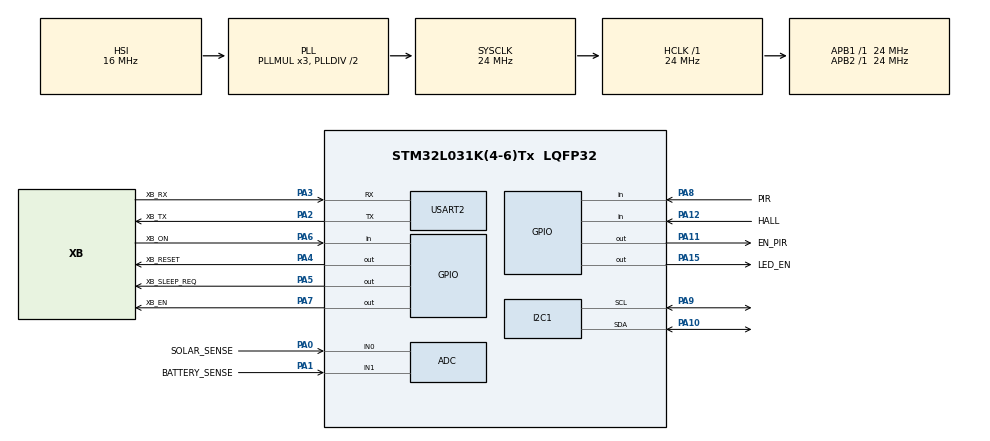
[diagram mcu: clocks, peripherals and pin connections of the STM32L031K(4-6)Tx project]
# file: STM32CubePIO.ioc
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Dma.ADC.0.Direction=DMA_PERIPH_TO_MEMORY
Dma.ADC.0.Instance=DMA1_Channel1
Dma.ADC.0.MemDataAlignment=DMA_MDATAALIGN_HALFWORD
Dma.ADC.0.MemInc=DMA_MINC_ENABLE
Dma.ADC.0.Mode=DMA_NORMAL
Dma.ADC.0.PeriphDataAlignment=DMA_PDATAALIGN_HALFWORD
Dma.ADC.0.PeriphInc=DMA_PINC_DISABLE
Dma.ADC.0.Priority=DMA_PRIORITY_LOW
Dma.Request0=ADC
I2C1.Timing=0x00506682
Mcu.Family=STM32L0
Mcu.Name=STM32L031K(4-6)Tx
Mcu.Package=LQFP32
NVIC.ADC1_COMP_IRQn=true\:0\:0\:false\:false\:true\:true\:true
NVIC.DMA1_Channel1_IRQn=true\:0\:0\:false\:false\:true\:false\:true
PA0-CK_IN.GPIO_Label=SOLAR_SENSE
PA0-CK_IN.Mode=IN0
PA0-CK_IN.Signal=ADC_IN0
PA1.GPIO_Label=BATTERY_SENSE
PA1.Mode=IN1
PA1.Signal=ADC_IN1
PA10.Mode=I2C
PA10.Signal=I2C1_SDA
PA11.GPIO_Label=EN_PIR
PA11.Signal=GPIO_Output
PA12.GPIO_Label=HALL
PA12.GPIO_PuPd=GPIO_PULLUP
PA12.Signal=GPIO_Input
PA13.Mode=Serial_Wire
PA13.Signal=SYS_SWDIO
PA14.Mode=Serial_Wire
PA14.Signal=SYS_SWCLK
PA15.GPIO_Label=LED_EN
PA15.Signal=GPIO_Output
PA2.GPIO_Label=XB_TX
PA2.Mode=Asynchronous
PA2.Signal=USART2_TX
PA3.GPIO_Label=XB_RX
PA3.Mode=Asynchronous
PA3.Signal=USART2_RX
PA4.GPIO_Label=XB_RESET
PA4.Signal=GPIO_Output
PA5.GPIO_Label=XB_SLEEP_REQ
PA5.Signal=GPIO_Output
PA6.GPIO_Label=XB_ON
PA6.Signal=GPIO_Input
PA7.GPIO_Label=XB_EN
PA7.Signal=GPIO_Output
PA8.GPIO_Label=PIR
PA8.Signal=GPIO_Input
PA9.Mode=I2C
PA9.Signal=I2C1_SCL
PC14-OSC32_IN.Mode=LSE-External-Oscillator
PC14-OSC32_IN.Signal=RCC_OSC32_IN
PC15-OSC32_OUT.Mode=LSE-External-Oscillator
PC15-OSC32_OUT.Signal=RCC_OSC32_OUT
ProjectManager.HeapSize=0x200
ProjectManager.StackSize=0x400
ProjectManager.TargetToolchain=Makefile
RCC.AHBFreq_Value=24000000
RCC.APB1Freq_Value=24000000
RCC.APB1TimFreq_Value=24000000
RCC.APB2Freq_Value=24000000
RCC.APB2TimFreq_Value=24000000
RCC.HCLKFreq_Value=24000000
RCC.HSE_VALUE=8000000
RCC.HSI16_VALUE=16000000
RCC.HSI_VALUE=16000000
RCC.MSI_VALUE=2097000
RCC.RTCClockSelection=RCC_RTCCLKSOURCE_LSE
RCC.RTCClockSelectionVirtual=RCC_RTCCLKSOURCE_LSE
RCC.SYSCLKFreq_VALUE=24000000
RCC.SYSCLKSource=RCC_SYSCLKSOURCE_PLLCLK
RCC.VCOOutputFreq_Value=48000000
USART2.VirtualMode-Asynchronous=VM_ASYNC
VP_ADC_TempSens_Input.Mode=IN-TempSens
VP_ADC_Vref_Input.Mode=IN-Vrefint
VP_RTC_VS_RTC_Activate.Mode=RTC_Enabled
board=custom

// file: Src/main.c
/* USER CODE BEGIN Header */
/**
  ******************************************************************************
  * @file           : main.c
  * @brief          : Main program body
  ******************************************************************************
  ** This notice applies to any and all portions of this file
  * that are not between comment pairs USER CODE BEGIN and
  * USER CODE END. Other portions of this file, whether
  * inserted by the user or by software development tools
  * are owned by their respective copyright owners.
  *
  * COPYRIGHT(c) 2019 STMicroelectronics
  *
  * Redistribution and use in source and binary forms, with or without modification,
  * are permitted provided that the following conditions are met:
  *   1. Redistributions of source code must retain the above copyright notice,
  *      this list of conditions and the following disclaimer.
  *   2. Redistributions in binary form must reproduce the above copyright notice,
  *      this list of conditions and the following disclaimer in the documentation
  *      and/or other materials provided with the distribution.
  *   3. Neither the name of STMicroelectronics nor the names of its contributors
  *      may be used to endorse or promote products derived from this software
  *      without specific prior written permission.
  *
  * THIS SOFTWARE IS PROVIDED BY THE COPYRIGHT HOLDERS AND CONTRIBUTORS "AS IS"
  * AND ANY EXPRESS OR IMPLIED WARRANTIES, INCLUDING, BUT NOT LIMITED TO, THE
  * IMPLIED WARRANTIES OF MERCHANTABILITY AND FITNESS FOR A PARTICULAR PURPOSE ARE
  * DISCLAIMED. IN NO EVENT SHALL THE COPYRIGHT HOLDER OR CONTRIBUTORS BE LIABLE
  * FOR ANY DIRECT, INDIRECT, INCIDENTAL, SPECIAL, EXEMPLARY, OR CONSEQUENTIAL
  * DAMAGES (INCLUDING, BUT NOT LIMITED TO, PROCUREMENT OF SUBSTITUTE GOODS OR
  * SERVICES; LOSS OF USE, DATA, OR PROFITS; OR BUSINESS INTERRUPTION) HOWEVER
  * CAUSED AND ON ANY THEORY OF LIABILITY, WHETHER IN CONTRACT, STRICT LIABILITY,
  * OR TORT (INCLUDING NEGLIGENCE OR OTHERWISE) ARISING IN ANY WAY OUT OF THE USE
  * OF THIS SOFTWARE, EVEN IF ADVISED OF THE POSSIBILITY OF SUCH DAMAGE.
  *
  ******************************************************************************
  */
/* USER CODE END Header */

#include "main.h"

/* USER CODE BEGIN Includes */
#include "SEGGER_RTT.h"
#include "ssd1306_i2c.h"
#include "ssd1306_fonts.h"

/* USER CODE END Includes */

ADC_HandleTypeDef hadc;
DMA_HandleTypeDef hdma_adc;

I2C_HandleTypeDef hi2c1;

RTC_HandleTypeDef hrtc;

UART_HandleTypeDef huart2;

/* USER CODE BEGIN PV */
uint16_t ADC_raw[4];
/* USER CODE END PV */

void SystemClock_Config(void);
static void MX_GPIO_Init(void);
static void MX_DMA_Init(void);
static void MX_ADC_Init(void);
static void MX_I2C1_Init(void);
static void MX_RTC_Init(void);
static void MX_USART2_UART_Init(void);

/* USER CODE BEGIN 0 */
void scan_I2C(I2C_HandleTypeDef *hi2c)
{
  SEGGER_RTT_printf(0, "Starting I2C Scan...\n");
  for (int i=0; i<127; i++) {
    if ((HAL_I2C_IsDeviceReady(hi2c, (uint8_t)(i<<1), 1, 2)) == HAL_OK) {
      SEGGER_RTT_printf(0, "Response from 0x%2X\n", i);
    }
  }
  SEGGER_RTT_printf(0, "Finished I2C Scan\n");
}

void xbee_on(void)
{
  SEGGER_RTT_printf(0, "Turning XBee Radio on\n");
  /* Turn on the power to the module */
  HAL_GPIO_WritePin(XB_EN_GPIO_Port, XB_EN_Pin, GPIO_PIN_RESET);
  /* Set the NOT_RESET pin - resets on logic 0 */
  HAL_GPIO_WritePin(XB_RESET_GPIO_Port, XB_RESET_Pin, GPIO_PIN_SET);
  /* Do not request sleep - Pin_Sleep (Pin 9) requires SM=1 in configuration of the module */
  HAL_GPIO_WritePin(XB_SLEEP_REQ_GPIO_Port, XB_SLEEP_REQ_Pin, GPIO_PIN_RESET);
}

/* USER CODE END 0 */

int main(void)
{

  /* MCU Configuration--------------------------------------------------------*/

  /* Reset of all peripherals, Initializes the Flash interface and the Systick. */
  HAL_Init();

  /* Configure the system clock */
  SystemClock_Config();

  /* Initialize all configured peripherals */
  MX_GPIO_Init();
  MX_DMA_Init();
  MX_ADC_Init();
  MX_I2C1_Init();
  MX_RTC_Init();
  MX_USART2_UART_Init();
  /* USER CODE BEGIN 2 */

  /* Initialise global variables */
  for (int i=0; i<4; i++){
    ADC_raw[i] = 0;
  }

  scan_I2C(&hi2c1);

  xbee_on();

  /* Test SSD1306 */
  ssd1306_Init();
  ssd1306_Fill(Black);
  ssd1306_SetCursor(2, 0);
  ssd1306_WriteString("Vance is Ace", Font_11x18, White);
  ssd1306_UpdateScreen();

  /* USER CODE END 2 */

  /* Infinite loop */
  /* USER CODE BEGIN WHILE */
  int i = 0;
  uint8_t hall = 0;
  uint8_t pir = 0;
  uint8_t is_asleep = 0;

  while (1)
  {
    /* Start ADC conversion using DMA */
    HAL_ADC_Start_DMA(&hadc, (uint32_t*) ADC_raw, 4);
    /* Read digital pins */
    hall = HAL_GPIO_ReadPin(HALL_GPIO_Port, HALL_Pin);
    pir = HAL_GPIO_ReadPin(PIR_GPIO_Port, PIR_Pin);
    is_asleep = HAL_GPIO_ReadPin(XB_ON_GPIO_Port, XB_ON_Pin);

    /* Print debug to segger */
    SEGGER_RTT_printf(0, "%d: XBee - %d  Hall - %d   PIR - %d  Solar - %d  Battery - %d   Ref - %d   Temp - %d\n", i, is_asleep, hall, pir, ADC_raw[0], ADC_raw[1], ADC_raw[2], ADC_raw[3]);

    if (i++ % 5 == 0)
    {
      SEGGER_RTT_printf(0, "Toggling PIR Pin\n");
      HAL_GPIO_TogglePin(EN_PIR_GPIO_Port, EN_PIR_Pin);
    }

    /* Hang out */
    HAL_Delay(5000);
    /* USER CODE END WHILE */

  }
}

void SystemClock_Config(void)
{
  RCC_OscInitTypeDef RCC_OscInitStruct = {0};
  RCC_ClkInitTypeDef RCC_ClkInitStruct = {0};
  RCC_PeriphCLKInitTypeDef PeriphClkInit = {0};

  /** Configure the main internal regulator output voltage
  */
  __HAL_PWR_VOLTAGESCALING_CONFIG(PWR_REGULATOR_VOLTAGE_SCALE1);
  /** Configure LSE Drive Capability
  */
  HAL_PWR_EnableBkUpAccess();
  __HAL_RCC_LSEDRIVE_CONFIG(RCC_LSEDRIVE_LOW);
  /** Initializes the CPU, AHB and APB busses clocks
  */
  RCC_OscInitStruct.OscillatorType = RCC_OSCILLATORTYPE_HSI|RCC_OSCILLATORTYPE_LSE;
  RCC_OscInitStruct.LSEState = RCC_LSE_ON;
  RCC_OscInitStruct.HSIState = RCC_HSI_ON;
  RCC_OscInitStruct.HSICalibrationValue = RCC_HSICALIBRATION_DEFAULT;
  RCC_OscInitStruct.PLL.PLLState = RCC_PLL_ON;
  RCC_OscInitStruct.PLL.PLLSource = RCC_PLLSOURCE_HSI;
  RCC_OscInitStruct.PLL.PLLMUL = RCC_PLLMUL_3;
  RCC_OscInitStruct.PLL.PLLDIV = RCC_PLLDIV_2;
  if (HAL_RCC_OscConfig(&RCC_OscInitStruct) != HAL_OK)
  {
    Error_Handler();
  }
  /** Initializes the CPU, AHB and APB busses clocks
  */
  RCC_ClkInitStruct.ClockType = RCC_CLOCKTYPE_HCLK|RCC_CLOCKTYPE_SYSCLK
                              |RCC_CLOCKTYPE_PCLK1|RCC_CLOCKTYPE_PCLK2;
  RCC_ClkInitStruct.SYSCLKSource = RCC_SYSCLKSOURCE_PLLCLK;
  RCC_ClkInitStruct.AHBCLKDivider = RCC_SYSCLK_DIV1;
  RCC_ClkInitStruct.APB1CLKDivider = RCC_HCLK_DIV1;
  RCC_ClkInitStruct.APB2CLKDivider = RCC_HCLK_DIV1;

  if (HAL_RCC_ClockConfig(&RCC_ClkInitStruct, FLASH_LATENCY_1) != HAL_OK)
  {
    Error_Handler();
  }
  PeriphClkInit.PeriphClockSelection = RCC_PERIPHCLK_USART2|RCC_PERIPHCLK_I2C1
                              |RCC_PERIPHCLK_RTC;
  PeriphClkInit.Usart2ClockSelection = RCC_USART2CLKSOURCE_PCLK1;
  PeriphClkInit.I2c1ClockSelection = RCC_I2C1CLKSOURCE_PCLK1;
  PeriphClkInit.RTCClockSelection = RCC_RTCCLKSOURCE_LSE;
  if (HAL_RCCEx_PeriphCLKConfig(&PeriphClkInit) != HAL_OK)
  {
    Error_Handler();
  }
}

static void MX_ADC_Init(void)
{

  ADC_ChannelConfTypeDef sConfig = {0};

  /** Configure the global features of the ADC (Clock, Resolution, Data Alignment and number of conversion)
  */
  hadc.Instance = ADC1;
  hadc.Init.OversamplingMode = DISABLE;
  hadc.Init.ClockPrescaler = ADC_CLOCK_SYNC_PCLK_DIV2;
  hadc.Init.Resolution = ADC_RESOLUTION_12B;
  hadc.Init.SamplingTime = ADC_SAMPLETIME_1CYCLE_5;
  hadc.Init.ScanConvMode = ADC_SCAN_DIRECTION_FORWARD;
  hadc.Init.DataAlign = ADC_DATAALIGN_RIGHT;
  hadc.Init.ContinuousConvMode = DISABLE;
  hadc.Init.DiscontinuousConvMode = DISABLE;
  hadc.Init.ExternalTrigConvEdge = ADC_EXTERNALTRIGCONVEDGE_NONE;
  hadc.Init.ExternalTrigConv = ADC_SOFTWARE_START;
  hadc.Init.DMAContinuousRequests = DISABLE;
  hadc.Init.EOCSelection = ADC_EOC_SINGLE_CONV;
  hadc.Init.Overrun = ADC_OVR_DATA_PRESERVED;
  hadc.Init.LowPowerAutoWait = DISABLE;
  hadc.Init.LowPowerFrequencyMode = DISABLE;
  hadc.Init.LowPowerAutoPowerOff = DISABLE;
  if (HAL_ADC_Init(&hadc) != HAL_OK)
  {
    Error_Handler();
  }
  /** Configure for the selected ADC regular channel to be converted.
  */
  sConfig.Channel = ADC_CHANNEL_0;
  sConfig.Rank = ADC_RANK_CHANNEL_NUMBER;
  if (HAL_ADC_ConfigChannel(&hadc, &sConfig) != HAL_OK)
  {
    Error_Handler();
  }
  /** Configure for the selected ADC regular channel to be converted.
  */
  sConfig.Channel = ADC_CHANNEL_1;
  if (HAL_ADC_ConfigChannel(&hadc, &sConfig) != HAL_OK)
  {
    Error_Handler();
  }
  /** Configure for the selected ADC regular channel to be converted.
  */
  sConfig.Channel = ADC_CHANNEL_TEMPSENSOR;
  if (HAL_ADC_ConfigChannel(&hadc, &sConfig) != HAL_OK)
  {
    Error_Handler();
  }
  /** Configure for the selected ADC regular channel to be converted.
  */
  sConfig.Channel = ADC_CHANNEL_VREFINT;
  if (HAL_ADC_ConfigChannel(&hadc, &sConfig) != HAL_OK)
  {
    Error_Handler();
  }

}

static void MX_I2C1_Init(void)
{

  hi2c1.Instance = I2C1;
  hi2c1.Init.Timing = 0x00506682;
  hi2c1.Init.OwnAddress1 = 0;
  hi2c1.Init.AddressingMode = I2C_ADDRESSINGMODE_7BIT;
  hi2c1.Init.DualAddressMode = I2C_DUALADDRESS_DISABLE;
  hi2c1.Init.OwnAddress2 = 0;
  hi2c1.Init.OwnAddress2Masks = I2C_OA2_NOMASK;
  hi2c1.Init.GeneralCallMode = I2C_GENERALCALL_DISABLE;
  hi2c1.Init.NoStretchMode = I2C_NOSTRETCH_DISABLE;
  if (HAL_I2C_Init(&hi2c1) != HAL_OK)
  {
    Error_Handler();
  }
  /** Configure Analogue filter
  */
  if (HAL_I2CEx_ConfigAnalogFilter(&hi2c1, I2C_ANALOGFILTER_ENABLE) != HAL_OK)
  {
    Error_Handler();
  }
  /** Configure Digital filter
  */
  if (HAL_I2CEx_ConfigDigitalFilter(&hi2c1, 0) != HAL_OK)
  {
    Error_Handler();
  }

}

static void MX_RTC_Init(void)
{

  /** Initialize RTC Only
  */
  hrtc.Instance = RTC;
  hrtc.Init.HourFormat = RTC_HOURFORMAT_24;
  hrtc.Init.AsynchPrediv = 127;
  hrtc.Init.SynchPrediv = 255;
  hrtc.Init.OutPut = RTC_OUTPUT_DISABLE;
  hrtc.Init.OutPutRemap = RTC_OUTPUT_REMAP_NONE;
  hrtc.Init.OutPutPolarity = RTC_OUTPUT_POLARITY_HIGH;
  hrtc.Init.OutPutType = RTC_OUTPUT_TYPE_OPENDRAIN;
  if (HAL_RTC_Init(&hrtc) != HAL_OK)
  {
    Error_Handler();
  }

}

static void MX_USART2_UART_Init(void)
{

  huart2.Instance = USART2;
  huart2.Init.BaudRate = 115200;
  huart2.Init.WordLength = UART_WORDLENGTH_8B;
  huart2.Init.StopBits = UART_STOPBITS_1;
  huart2.Init.Parity = UART_PARITY_NONE;
  huart2.Init.Mode = UART_MODE_TX_RX;
  huart2.Init.HwFlowCtl = UART_HWCONTROL_NONE;
  huart2.Init.OverSampling = UART_OVERSAMPLING_16;
  huart2.Init.OneBitSampling = UART_ONE_BIT_SAMPLE_DISABLE;
  huart2.AdvancedInit.AdvFeatureInit = UART_ADVFEATURE_NO_INIT;
  if (HAL_UART_Init(&huart2) != HAL_OK)
  {
    Error_Handler();
  }

}

static void MX_DMA_Init(void)
{
  /* DMA controller clock enable */
  __HAL_RCC_DMA1_CLK_ENABLE();

  /* DMA interrupt init */
  /* DMA1_Channel1_IRQn interrupt configuration */
  HAL_NVIC_SetPriority(DMA1_Channel1_IRQn, 0, 0);
  HAL_NVIC_EnableIRQ(DMA1_Channel1_IRQn);

}

static void MX_GPIO_Init(void)
{
  GPIO_InitTypeDef GPIO_InitStruct = {0};

  /* GPIO Ports Clock Enable */
  __HAL_RCC_GPIOC_CLK_ENABLE();
  __HAL_RCC_GPIOA_CLK_ENABLE();
  __HAL_RCC_GPIOB_CLK_ENABLE();

  /*Configure GPIO pin Output Level */
  HAL_GPIO_WritePin(GPIOA, XB_RESET_Pin|XB_SLEEP_REQ_Pin|XB_EN_Pin|EN_PIR_Pin
                          |LED_EN_Pin, GPIO_PIN_RESET);

  /*Configure GPIO pins : XB_RESET_Pin XB_SLEEP_REQ_Pin XB_EN_Pin EN_PIR_Pin
                           LED_EN_Pin */
  GPIO_InitStruct.Pin = XB_RESET_Pin|XB_SLEEP_REQ_Pin|XB_EN_Pin|EN_PIR_Pin
                          |LED_EN_Pin;
  GPIO_InitStruct.Mode = GPIO_MODE_OUTPUT_PP;
  GPIO_InitStruct.Pull = GPIO_NOPULL;
  GPIO_InitStruct.Speed = GPIO_SPEED_FREQ_LOW;
  HAL_GPIO_Init(GPIOA, &GPIO_InitStruct);

  /*Configure GPIO pins : XB_ON_Pin PIR_Pin */
  GPIO_InitStruct.Pin = XB_ON_Pin|PIR_Pin;
  GPIO_InitStruct.Mode = GPIO_MODE_INPUT;
  GPIO_InitStruct.Pull = GPIO_NOPULL;
  HAL_GPIO_Init(GPIOA, &GPIO_InitStruct);

  /*Configure GPIO pins : PB0 PB1 PB3 PB4
                           PB5 PB6 PB7 */
  GPIO_InitStruct.Pin = GPIO_PIN_0|GPIO_PIN_1|GPIO_PIN_3|GPIO_PIN_4
                          |GPIO_PIN_5|GPIO_PIN_6|GPIO_PIN_7;
  GPIO_InitStruct.Mode = GPIO_MODE_ANALOG;
  GPIO_InitStruct.Pull = GPIO_NOPULL;
  HAL_GPIO_Init(GPIOB, &GPIO_InitStruct);

  /*Configure GPIO pin : HALL_Pin */
  GPIO_InitStruct.Pin = HALL_Pin;
  GPIO_InitStruct.Mode = GPIO_MODE_INPUT;
  GPIO_InitStruct.Pull = GPIO_PULLUP;
  HAL_GPIO_Init(HALL_GPIO_Port, &GPIO_InitStruct);

}

void Error_Handler(void)
{
}

/************************ (C) COPYRIGHT STMicroelectronics *****END OF FILE****/
